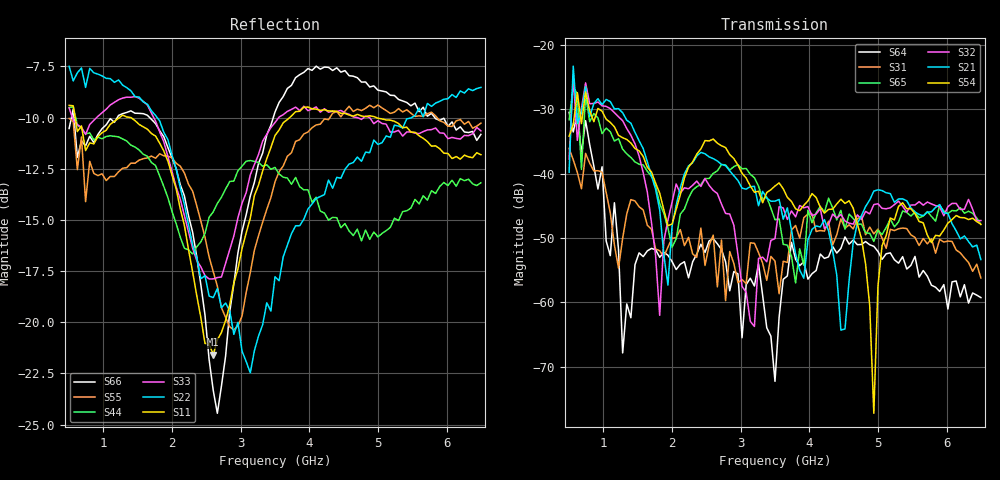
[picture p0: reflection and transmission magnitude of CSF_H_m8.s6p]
!Keysight Technologies,M9804A,MY58100912,A.14.10.03
!Date: Thursday, April 27, 2023 10:28:33
!Correction: S11(C  6-Port  )
!S12(C  6-Port  )
!S13(C  6-Port  )
!S14(C  6-Port  )
!S15(C  6-Port  )
!S16(C  6-Port  )
!S21(C  6-Port  )
!S22(C  6-Port  )
!S23(C  6-Port  )
!S24(C  6-Port  )
!S25(C  6-Port  )
!S26(C  6-Port  )
!S31(C  6-Port  )
!S32(C  6-Port  )
!S33(C  6-Port  )
!S34(C  6-Port  )
!S35(C  6-Port  )
!S36(C  6-Port  )
!S41(C  6-Port  )
!S42(C  6-Port  )
!S43(C  6-Port  )
!S44(C  6-Port  )
!S45(C  6-Port  )
!S46(C  6-Port  )
!S51(C  6-Port  )
!S52(C  6-Port  )
!S53(C  6-Port  )
!S54(C  6-Port  )
!S55(C  6-Port  )
!S56(C  6-Port  )
!S61(C  6-Port  )
!S62(C  6-Port  )
!S63(C  6-Port  )
!S64(C  6-Port  )
!S65(C  6-Port  )
!S66(C  6-Port  )
!S6P File: Measurement: :
# Hz S  RI  R 50
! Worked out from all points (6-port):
!   101 points, 500 MHz to 6.5 GHz, reference 50 ohm
!   strongest paths, dB at 500 MHz, 2 GHz, 3.5 GHz, 5 GHz, 6.5 GHz:
!     S54: -34.1, -47.8, -41.9, -57.5, -47.8
!     S21: -39.7, -48.1, -44.3, -42.5, -53.3
!     S32: -37.7, -44.4, -50.1, -44.7, -47.3
!     S65: -31.6, -51.4, -47.1, -48.8, -47.9
!     S31: -36.1, -50.0, -53.6, -48.6, -56.2
!     S64: -30.4, -53.6, -72.3, -52.1, -59.2
!   lowest |S11| = -21.6 dB at 2.6 GHz (marker M1), VSWR 1.18, Z = 42.6 + j2.04 ohm
!   |S11| at or under -10 dB: 587.3 MHz to 1.234 GHz (647.1 MHz wide, 71 % of centre); 1.396 GHz to 3.714 GHz (2.318 GHz wide, 90.7 % of centre); 4.975 GHz to end of sweep
